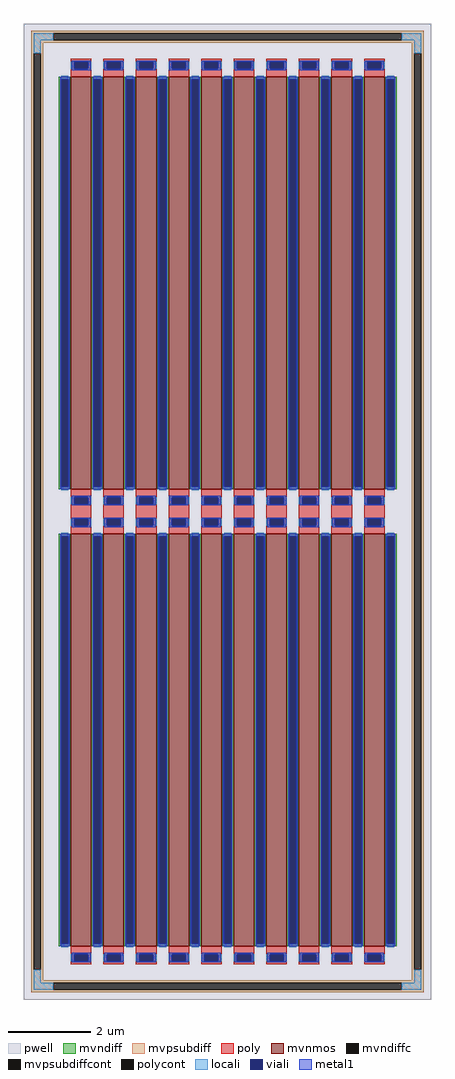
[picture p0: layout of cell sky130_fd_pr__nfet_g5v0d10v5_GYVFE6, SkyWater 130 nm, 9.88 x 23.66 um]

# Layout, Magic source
magic
tech sky130A
<< pwell >>
rect -494 -1183 494 1183
<< mvnmos >>
rect -380 54 -330 1054
rect -301 54 -251 1054
rect -222 54 -172 1054
rect -143 54 -93 1054
rect -64 54 -14 1054
rect 15 54 65 1054
rect 94 54 144 1054
rect 173 54 223 1054
rect 252 54 302 1054
rect 331 54 381 1054
rect -380 -1054 -330 -54
rect -301 -1054 -251 -54
rect -222 -1054 -172 -54
rect -143 -1054 -93 -54
rect -64 -1054 -14 -54
rect 15 -1054 65 -54
rect 94 -1054 144 -54
rect 173 -1054 223 -54
rect 252 -1054 302 -54
rect 331 -1054 381 -54
<< mvndiff >>
rect -409 1048 -380 1054
rect -409 60 -403 1048
rect -386 60 -380 1048
rect -409 54 -380 60
rect -330 1048 -301 1054
rect -330 60 -324 1048
rect -307 60 -301 1048
rect -330 54 -301 60
rect -251 1048 -222 1054
rect -251 60 -245 1048
rect -228 60 -222 1048
rect -251 54 -222 60
rect -172 1048 -143 1054
rect -172 60 -166 1048
rect -149 60 -143 1048
rect -172 54 -143 60
rect -93 1048 -64 1054
rect -93 60 -87 1048
rect -70 60 -64 1048
rect -93 54 -64 60
rect -14 1048 15 1054
rect -14 60 -8 1048
rect 9 60 15 1048
rect -14 54 15 60
rect 65 1048 94 1054
rect 65 60 71 1048
rect 88 60 94 1048
rect 65 54 94 60
rect 144 1048 173 1054
rect 144 60 150 1048
rect 167 60 173 1048
rect 144 54 173 60
rect 223 1048 252 1054
rect 223 60 229 1048
rect 246 60 252 1048
rect 223 54 252 60
rect 302 1048 331 1054
rect 302 60 308 1048
rect 325 60 331 1048
rect 302 54 331 60
rect 381 1048 410 1054
rect 381 60 387 1048
rect 404 60 410 1048
rect 381 54 410 60
rect -409 -60 -380 -54
rect -409 -1048 -403 -60
rect -386 -1048 -380 -60
rect -409 -1054 -380 -1048
rect -330 -60 -301 -54
rect -330 -1048 -324 -60
rect -307 -1048 -301 -60
rect -330 -1054 -301 -1048
rect -251 -60 -222 -54
rect -251 -1048 -245 -60
rect -228 -1048 -222 -60
rect -251 -1054 -222 -1048
rect -172 -60 -143 -54
rect -172 -1048 -166 -60
rect -149 -1048 -143 -60
rect -172 -1054 -143 -1048
rect -93 -60 -64 -54
rect -93 -1048 -87 -60
rect -70 -1048 -64 -60
rect -93 -1054 -64 -1048
rect -14 -60 15 -54
rect -14 -1048 -8 -60
rect 9 -1048 15 -60
rect -14 -1054 15 -1048
rect 65 -60 94 -54
rect 65 -1048 71 -60
rect 88 -1048 94 -60
rect 65 -1054 94 -1048
rect 144 -60 173 -54
rect 144 -1048 150 -60
rect 167 -1048 173 -60
rect 144 -1054 173 -1048
rect 223 -60 252 -54
rect 223 -1048 229 -60
rect 246 -1048 252 -60
rect 223 -1054 252 -1048
rect 302 -60 331 -54
rect 302 -1048 308 -60
rect 325 -1048 331 -60
rect 302 -1054 331 -1048
rect 381 -60 410 -54
rect 381 -1048 387 -60
rect 404 -1048 410 -60
rect 381 -1054 410 -1048
<< mvndiffc >>
rect -403 60 -386 1048
rect -324 60 -307 1048
rect -245 60 -228 1048
rect -166 60 -149 1048
rect -87 60 -70 1048
rect -8 60 9 1048
rect 71 60 88 1048
rect 150 60 167 1048
rect 229 60 246 1048
rect 308 60 325 1048
rect 387 60 404 1048
rect -403 -1048 -386 -60
rect -324 -1048 -307 -60
rect -245 -1048 -228 -60
rect -166 -1048 -149 -60
rect -87 -1048 -70 -60
rect -8 -1048 9 -60
rect 71 -1048 88 -60
rect 150 -1048 167 -60
rect 229 -1048 246 -60
rect 308 -1048 325 -60
rect 387 -1048 404 -60
<< mvpsubdiff >>
rect -476 1159 476 1165
rect -476 1142 -422 1159
rect 422 1142 476 1159
rect -476 1136 476 1142
rect -476 1111 -447 1136
rect -476 -1111 -470 1111
rect -453 -1111 -447 1111
rect 447 1111 476 1136
rect -476 -1136 -447 -1111
rect 447 -1111 453 1111
rect 470 -1111 476 1111
rect 447 -1136 476 -1111
rect -476 -1142 476 -1136
rect -476 -1159 -422 -1142
rect 422 -1159 476 -1142
rect -476 -1165 476 -1159
<< mvpsubdiffcont >>
rect -422 1142 422 1159
rect -470 -1111 -453 1111
rect 453 -1111 470 1111
rect -422 -1159 422 -1142
<< poly >>
rect -380 1090 -330 1098
rect -380 1073 -372 1090
rect -338 1073 -330 1090
rect -380 1054 -330 1073
rect -301 1090 -251 1098
rect -301 1073 -293 1090
rect -259 1073 -251 1090
rect -301 1054 -251 1073
rect -222 1090 -172 1098
rect -222 1073 -214 1090
rect -180 1073 -172 1090
rect -222 1054 -172 1073
rect -143 1090 -93 1098
rect -143 1073 -135 1090
rect -101 1073 -93 1090
rect -143 1054 -93 1073
rect -64 1090 -14 1098
rect -64 1073 -56 1090
rect -22 1073 -14 1090
rect -64 1054 -14 1073
rect 15 1090 65 1098
rect 15 1073 23 1090
rect 57 1073 65 1090
rect 15 1054 65 1073
rect 94 1090 144 1098
rect 94 1073 102 1090
rect 136 1073 144 1090
rect 94 1054 144 1073
rect 173 1090 223 1098
rect 173 1073 181 1090
rect 215 1073 223 1090
rect 173 1054 223 1073
rect 252 1090 302 1098
rect 252 1073 260 1090
rect 294 1073 302 1090
rect 252 1054 302 1073
rect 331 1090 381 1098
rect 331 1073 339 1090
rect 373 1073 381 1090
rect 331 1054 381 1073
rect -380 35 -330 54
rect -380 18 -372 35
rect -338 18 -330 35
rect -380 -18 -330 18
rect -380 -35 -372 -18
rect -338 -35 -330 -18
rect -380 -54 -330 -35
rect -301 35 -251 54
rect -301 18 -293 35
rect -259 18 -251 35
rect -301 -18 -251 18
rect -301 -35 -293 -18
rect -259 -35 -251 -18
rect -301 -54 -251 -35
rect -222 35 -172 54
rect -222 18 -214 35
rect -180 18 -172 35
rect -222 -18 -172 18
rect -222 -35 -214 -18
rect -180 -35 -172 -18
rect -222 -54 -172 -35
rect -143 35 -93 54
rect -143 18 -135 35
rect -101 18 -93 35
rect -143 -18 -93 18
rect -143 -35 -135 -18
rect -101 -35 -93 -18
rect -143 -54 -93 -35
rect -64 35 -14 54
rect -64 18 -56 35
rect -22 18 -14 35
rect -64 -18 -14 18
rect -64 -35 -56 -18
rect -22 -35 -14 -18
rect -64 -54 -14 -35
rect 15 35 65 54
rect 15 18 23 35
rect 57 18 65 35
rect 15 -18 65 18
rect 15 -35 23 -18
rect 57 -35 65 -18
rect 15 -54 65 -35
rect 94 35 144 54
rect 94 18 102 35
rect 136 18 144 35
rect 94 -18 144 18
rect 94 -35 102 -18
rect 136 -35 144 -18
rect 94 -54 144 -35
rect 173 35 223 54
rect 173 18 181 35
rect 215 18 223 35
rect 173 -18 223 18
rect 173 -35 181 -18
rect 215 -35 223 -18
rect 173 -54 223 -35
rect 252 35 302 54
rect 252 18 260 35
rect 294 18 302 35
rect 252 -18 302 18
rect 252 -35 260 -18
rect 294 -35 302 -18
rect 252 -54 302 -35
rect 331 35 381 54
rect 331 18 339 35
rect 373 18 381 35
rect 331 -18 381 18
rect 331 -35 339 -18
rect 373 -35 381 -18
rect 331 -54 381 -35
rect -380 -1073 -330 -1054
rect -380 -1090 -372 -1073
rect -338 -1090 -330 -1073
rect -380 -1098 -330 -1090
rect -301 -1073 -251 -1054
rect -301 -1090 -293 -1073
rect -259 -1090 -251 -1073
rect -301 -1098 -251 -1090
rect -222 -1073 -172 -1054
rect -222 -1090 -214 -1073
rect -180 -1090 -172 -1073
rect -222 -1098 -172 -1090
rect -143 -1073 -93 -1054
rect -143 -1090 -135 -1073
rect -101 -1090 -93 -1073
rect -143 -1098 -93 -1090
rect -64 -1073 -14 -1054
rect -64 -1090 -56 -1073
rect -22 -1090 -14 -1073
rect -64 -1098 -14 -1090
rect 15 -1073 65 -1054
rect 15 -1090 23 -1073
rect 57 -1090 65 -1073
rect 15 -1098 65 -1090
rect 94 -1073 144 -1054
rect 94 -1090 102 -1073
rect 136 -1090 144 -1073
rect 94 -1098 144 -1090
rect 173 -1073 223 -1054
rect 173 -1090 181 -1073
rect 215 -1090 223 -1073
rect 173 -1098 223 -1090
rect 252 -1073 302 -1054
rect 252 -1090 260 -1073
rect 294 -1090 302 -1073
rect 252 -1098 302 -1090
rect 331 -1073 381 -1054
rect 331 -1090 339 -1073
rect 373 -1090 381 -1073
rect 331 -1098 381 -1090
<< polycont >>
rect -372 1073 -338 1090
rect -293 1073 -259 1090
rect -214 1073 -180 1090
rect -135 1073 -101 1090
rect -56 1073 -22 1090
rect 23 1073 57 1090
rect 102 1073 136 1090
rect 181 1073 215 1090
rect 260 1073 294 1090
rect 339 1073 373 1090
rect -372 18 -338 35
rect -372 -35 -338 -18
rect -293 18 -259 35
rect -293 -35 -259 -18
rect -214 18 -180 35
rect -214 -35 -180 -18
rect -135 18 -101 35
rect -135 -35 -101 -18
rect -56 18 -22 35
rect -56 -35 -22 -18
rect 23 18 57 35
rect 23 -35 57 -18
rect 102 18 136 35
rect 102 -35 136 -18
rect 181 18 215 35
rect 181 -35 215 -18
rect 260 18 294 35
rect 260 -35 294 -18
rect 339 18 373 35
rect 339 -35 373 -18
rect -372 -1090 -338 -1073
rect -293 -1090 -259 -1073
rect -214 -1090 -180 -1073
rect -135 -1090 -101 -1073
rect -56 -1090 -22 -1073
rect 23 -1090 57 -1073
rect 102 -1090 136 -1073
rect 181 -1090 215 -1073
rect 260 -1090 294 -1073
rect 339 -1090 373 -1073
<< locali >>
rect -470 1142 -422 1159
rect 422 1142 470 1159
rect -470 1111 -453 1142
rect 453 1111 470 1142
rect -380 1073 -372 1090
rect -338 1073 -330 1090
rect -301 1073 -293 1090
rect -259 1073 -251 1090
rect -222 1073 -214 1090
rect -180 1073 -172 1090
rect -143 1073 -135 1090
rect -101 1073 -93 1090
rect -64 1073 -56 1090
rect -22 1073 -14 1090
rect 15 1073 23 1090
rect 57 1073 65 1090
rect 94 1073 102 1090
rect 136 1073 144 1090
rect 173 1073 181 1090
rect 215 1073 223 1090
rect 252 1073 260 1090
rect 294 1073 302 1090
rect 331 1073 339 1090
rect 373 1073 381 1090
rect -403 1048 -386 1056
rect -403 52 -386 60
rect -324 1048 -307 1056
rect -324 52 -307 60
rect -245 1048 -228 1056
rect -245 52 -228 60
rect -166 1048 -149 1056
rect -166 52 -149 60
rect -87 1048 -70 1056
rect -87 52 -70 60
rect -8 1048 9 1056
rect -8 52 9 60
rect 71 1048 88 1056
rect 71 52 88 60
rect 150 1048 167 1056
rect 150 52 167 60
rect 229 1048 246 1056
rect 229 52 246 60
rect 308 1048 325 1056
rect 308 52 325 60
rect 387 1048 404 1056
rect 387 52 404 60
rect -380 18 -372 35
rect -338 18 -330 35
rect -301 18 -293 35
rect -259 18 -251 35
rect -222 18 -214 35
rect -180 18 -172 35
rect -143 18 -135 35
rect -101 18 -93 35
rect -64 18 -56 35
rect -22 18 -14 35
rect 15 18 23 35
rect 57 18 65 35
rect 94 18 102 35
rect 136 18 144 35
rect 173 18 181 35
rect 215 18 223 35
rect 252 18 260 35
rect 294 18 302 35
rect 331 18 339 35
rect 373 18 381 35
rect -380 -35 -372 -18
rect -338 -35 -330 -18
rect -301 -35 -293 -18
rect -259 -35 -251 -18
rect -222 -35 -214 -18
rect -180 -35 -172 -18
rect -143 -35 -135 -18
rect -101 -35 -93 -18
rect -64 -35 -56 -18
rect -22 -35 -14 -18
rect 15 -35 23 -18
rect 57 -35 65 -18
rect 94 -35 102 -18
rect 136 -35 144 -18
rect 173 -35 181 -18
rect 215 -35 223 -18
rect 252 -35 260 -18
rect 294 -35 302 -18
rect 331 -35 339 -18
rect 373 -35 381 -18
rect -403 -60 -386 -52
rect -403 -1056 -386 -1048
rect -324 -60 -307 -52
rect -324 -1056 -307 -1048
rect -245 -60 -228 -52
rect -245 -1056 -228 -1048
rect -166 -60 -149 -52
rect -166 -1056 -149 -1048
rect -87 -60 -70 -52
rect -87 -1056 -70 -1048
rect -8 -60 9 -52
rect -8 -1056 9 -1048
rect 71 -60 88 -52
rect 71 -1056 88 -1048
rect 150 -60 167 -52
rect 150 -1056 167 -1048
rect 229 -60 246 -52
rect 229 -1056 246 -1048
rect 308 -60 325 -52
rect 308 -1056 325 -1048
rect 387 -60 404 -52
rect 387 -1056 404 -1048
rect -380 -1090 -372 -1073
rect -338 -1090 -330 -1073
rect -301 -1090 -293 -1073
rect -259 -1090 -251 -1073
rect -222 -1090 -214 -1073
rect -180 -1090 -172 -1073
rect -143 -1090 -135 -1073
rect -101 -1090 -93 -1073
rect -64 -1090 -56 -1073
rect -22 -1090 -14 -1073
rect 15 -1090 23 -1073
rect 57 -1090 65 -1073
rect 94 -1090 102 -1073
rect 136 -1090 144 -1073
rect 173 -1090 181 -1073
rect 215 -1090 223 -1073
rect 252 -1090 260 -1073
rect 294 -1090 302 -1073
rect 331 -1090 339 -1073
rect 373 -1090 381 -1073
rect -470 -1142 -453 -1111
rect 453 -1142 470 -1111
rect -470 -1159 -422 -1142
rect 422 -1159 470 -1142
<< viali >>
rect -372 1073 -338 1090
rect -293 1073 -259 1090
rect -214 1073 -180 1090
rect -135 1073 -101 1090
rect -56 1073 -22 1090
rect 23 1073 57 1090
rect 102 1073 136 1090
rect 181 1073 215 1090
rect 260 1073 294 1090
rect 339 1073 373 1090
rect -403 60 -386 1048
rect -324 60 -307 1048
rect -245 60 -228 1048
rect -166 60 -149 1048
rect -87 60 -70 1048
rect -8 60 9 1048
rect 71 60 88 1048
rect 150 60 167 1048
rect 229 60 246 1048
rect 308 60 325 1048
rect 387 60 404 1048
rect -372 18 -338 35
rect -293 18 -259 35
rect -214 18 -180 35
rect -135 18 -101 35
rect -56 18 -22 35
rect 23 18 57 35
rect 102 18 136 35
rect 181 18 215 35
rect 260 18 294 35
rect 339 18 373 35
rect -372 -35 -338 -18
rect -293 -35 -259 -18
rect -214 -35 -180 -18
rect -135 -35 -101 -18
rect -56 -35 -22 -18
rect 23 -35 57 -18
rect 102 -35 136 -18
rect 181 -35 215 -18
rect 260 -35 294 -18
rect 339 -35 373 -18
rect -403 -1048 -386 -60
rect -324 -1048 -307 -60
rect -245 -1048 -228 -60
rect -166 -1048 -149 -60
rect -87 -1048 -70 -60
rect -8 -1048 9 -60
rect 71 -1048 88 -60
rect 150 -1048 167 -60
rect 229 -1048 246 -60
rect 308 -1048 325 -60
rect 387 -1048 404 -60
rect -372 -1090 -338 -1073
rect -293 -1090 -259 -1073
rect -214 -1090 -180 -1073
rect -135 -1090 -101 -1073
rect -56 -1090 -22 -1073
rect 23 -1090 57 -1073
rect 102 -1090 136 -1073
rect 181 -1090 215 -1073
rect 260 -1090 294 -1073
rect 339 -1090 373 -1073
<< metal1 >>
rect -378 1090 -332 1093
rect -378 1073 -372 1090
rect -338 1073 -332 1090
rect -378 1070 -332 1073
rect -299 1090 -253 1093
rect -299 1073 -293 1090
rect -259 1073 -253 1090
rect -299 1070 -253 1073
rect -220 1090 -174 1093
rect -220 1073 -214 1090
rect -180 1073 -174 1090
rect -220 1070 -174 1073
rect -141 1090 -95 1093
rect -141 1073 -135 1090
rect -101 1073 -95 1090
rect -141 1070 -95 1073
rect -62 1090 -16 1093
rect -62 1073 -56 1090
rect -22 1073 -16 1090
rect -62 1070 -16 1073
rect 17 1090 63 1093
rect 17 1073 23 1090
rect 57 1073 63 1090
rect 17 1070 63 1073
rect 96 1090 142 1093
rect 96 1073 102 1090
rect 136 1073 142 1090
rect 96 1070 142 1073
rect 175 1090 221 1093
rect 175 1073 181 1090
rect 215 1073 221 1090
rect 175 1070 221 1073
rect 254 1090 300 1093
rect 254 1073 260 1090
rect 294 1073 300 1090
rect 254 1070 300 1073
rect 333 1090 379 1093
rect 333 1073 339 1090
rect 373 1073 379 1090
rect 333 1070 379 1073
rect -406 1048 -383 1054
rect -406 60 -403 1048
rect -386 60 -383 1048
rect -406 54 -383 60
rect -327 1048 -304 1054
rect -327 60 -324 1048
rect -307 60 -304 1048
rect -327 54 -304 60
rect -248 1048 -225 1054
rect -248 60 -245 1048
rect -228 60 -225 1048
rect -248 54 -225 60
rect -169 1048 -146 1054
rect -169 60 -166 1048
rect -149 60 -146 1048
rect -169 54 -146 60
rect -90 1048 -67 1054
rect -90 60 -87 1048
rect -70 60 -67 1048
rect -90 54 -67 60
rect -11 1048 12 1054
rect -11 60 -8 1048
rect 9 60 12 1048
rect -11 54 12 60
rect 68 1048 91 1054
rect 68 60 71 1048
rect 88 60 91 1048
rect 68 54 91 60
rect 147 1048 170 1054
rect 147 60 150 1048
rect 167 60 170 1048
rect 147 54 170 60
rect 226 1048 249 1054
rect 226 60 229 1048
rect 246 60 249 1048
rect 226 54 249 60
rect 305 1048 328 1054
rect 305 60 308 1048
rect 325 60 328 1048
rect 305 54 328 60
rect 384 1048 407 1054
rect 384 60 387 1048
rect 404 60 407 1048
rect 384 54 407 60
rect -378 35 -332 38
rect -378 18 -372 35
rect -338 18 -332 35
rect -378 15 -332 18
rect -299 35 -253 38
rect -299 18 -293 35
rect -259 18 -253 35
rect -299 15 -253 18
rect -220 35 -174 38
rect -220 18 -214 35
rect -180 18 -174 35
rect -220 15 -174 18
rect -141 35 -95 38
rect -141 18 -135 35
rect -101 18 -95 35
rect -141 15 -95 18
rect -62 35 -16 38
rect -62 18 -56 35
rect -22 18 -16 35
rect -62 15 -16 18
rect 17 35 63 38
rect 17 18 23 35
rect 57 18 63 35
rect 17 15 63 18
rect 96 35 142 38
rect 96 18 102 35
rect 136 18 142 35
rect 96 15 142 18
rect 175 35 221 38
rect 175 18 181 35
rect 215 18 221 35
rect 175 15 221 18
rect 254 35 300 38
rect 254 18 260 35
rect 294 18 300 35
rect 254 15 300 18
rect 333 35 379 38
rect 333 18 339 35
rect 373 18 379 35
rect 333 15 379 18
rect -378 -18 -332 -15
rect -378 -35 -372 -18
rect -338 -35 -332 -18
rect -378 -38 -332 -35
rect -299 -18 -253 -15
rect -299 -35 -293 -18
rect -259 -35 -253 -18
rect -299 -38 -253 -35
rect -220 -18 -174 -15
rect -220 -35 -214 -18
rect -180 -35 -174 -18
rect -220 -38 -174 -35
rect -141 -18 -95 -15
rect -141 -35 -135 -18
rect -101 -35 -95 -18
rect -141 -38 -95 -35
rect -62 -18 -16 -15
rect -62 -35 -56 -18
rect -22 -35 -16 -18
rect -62 -38 -16 -35
rect 17 -18 63 -15
rect 17 -35 23 -18
rect 57 -35 63 -18
rect 17 -38 63 -35
rect 96 -18 142 -15
rect 96 -35 102 -18
rect 136 -35 142 -18
rect 96 -38 142 -35
rect 175 -18 221 -15
rect 175 -35 181 -18
rect 215 -35 221 -18
rect 175 -38 221 -35
rect 254 -18 300 -15
rect 254 -35 260 -18
rect 294 -35 300 -18
rect 254 -38 300 -35
rect 333 -18 379 -15
rect 333 -35 339 -18
rect 373 -35 379 -18
rect 333 -38 379 -35
rect -406 -60 -383 -54
rect -406 -1048 -403 -60
rect -386 -1048 -383 -60
rect -406 -1054 -383 -1048
rect -327 -60 -304 -54
rect -327 -1048 -324 -60
rect -307 -1048 -304 -60
rect -327 -1054 -304 -1048
rect -248 -60 -225 -54
rect -248 -1048 -245 -60
rect -228 -1048 -225 -60
rect -248 -1054 -225 -1048
rect -169 -60 -146 -54
rect -169 -1048 -166 -60
rect -149 -1048 -146 -60
rect -169 -1054 -146 -1048
rect -90 -60 -67 -54
rect -90 -1048 -87 -60
rect -70 -1048 -67 -60
rect -90 -1054 -67 -1048
rect -11 -60 12 -54
rect -11 -1048 -8 -60
rect 9 -1048 12 -60
rect -11 -1054 12 -1048
rect 68 -60 91 -54
rect 68 -1048 71 -60
rect 88 -1048 91 -60
rect 68 -1054 91 -1048
rect 147 -60 170 -54
rect 147 -1048 150 -60
rect 167 -1048 170 -60
rect 147 -1054 170 -1048
rect 226 -60 249 -54
rect 226 -1048 229 -60
rect 246 -1048 249 -60
rect 226 -1054 249 -1048
rect 305 -60 328 -54
rect 305 -1048 308 -60
rect 325 -1048 328 -60
rect 305 -1054 328 -1048
rect 384 -60 407 -54
rect 384 -1048 387 -60
rect 404 -1048 407 -60
rect 384 -1054 407 -1048
rect -378 -1073 -332 -1070
rect -378 -1090 -372 -1073
rect -338 -1090 -332 -1073
rect -378 -1093 -332 -1090
rect -299 -1073 -253 -1070
rect -299 -1090 -293 -1073
rect -259 -1090 -253 -1073
rect -299 -1093 -253 -1090
rect -220 -1073 -174 -1070
rect -220 -1090 -214 -1073
rect -180 -1090 -174 -1073
rect -220 -1093 -174 -1090
rect -141 -1073 -95 -1070
rect -141 -1090 -135 -1073
rect -101 -1090 -95 -1073
rect -141 -1093 -95 -1090
rect -62 -1073 -16 -1070
rect -62 -1090 -56 -1073
rect -22 -1090 -16 -1073
rect -62 -1093 -16 -1090
rect 17 -1073 63 -1070
rect 17 -1090 23 -1073
rect 57 -1090 63 -1073
rect 17 -1093 63 -1090
rect 96 -1073 142 -1070
rect 96 -1090 102 -1073
rect 136 -1090 142 -1073
rect 96 -1093 142 -1090
rect 175 -1073 221 -1070
rect 175 -1090 181 -1073
rect 215 -1090 221 -1073
rect 175 -1093 221 -1090
rect 254 -1073 300 -1070
rect 254 -1090 260 -1073
rect 294 -1090 300 -1073
rect 254 -1093 300 -1090
rect 333 -1073 379 -1070
rect 333 -1090 339 -1073
rect 373 -1090 379 -1073
rect 333 -1093 379 -1090
<< properties >>
string FIXED_BBOX -462 -1151 462 1151
string gencell sky130_fd_pr__nfet_g5v0d10v5
string library sky130
string parameters w 10.0 l 0.5 m 2 nf 10 diffcov 100 polycov 100 guard 1 glc 1 grc 1 gtc 1 gbc 1 tbcov 100 rlcov 100 topc 1 botc 1 poverlap 0 doverlap 1 lmin 0.50 wmin 0.42 compatible {sky130_fd_pr__nfet_01v8 sky130_fd_pr__nfet_01v8_lvt  sky130_fd_bs_flash__special_sonosfet_star  sky130_fd_pr__nfet_g5v0d10v5 sky130_fd_pr__nfet_05v0_nvt  sky130_fd_pr__nfet_03v3_nvt} full_metal 1 viasrc 100 viadrn 100 viagate 100 viagb 0 viagr 0 viagl 0 viagt 0
<< end >>
